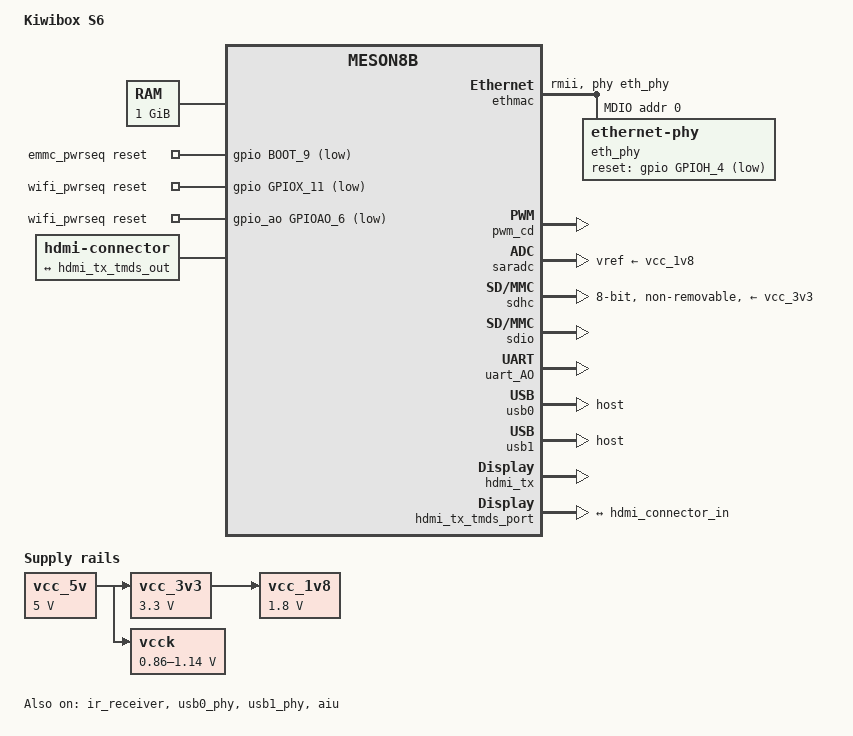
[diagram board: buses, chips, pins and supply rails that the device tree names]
// SPDX-License-Identifier: (GPL-2.0+ OR MIT)
/*
 * Kiwibox S6 - Amlogic S805 (Meson8b) TV box
 *
 * Reconstructed from the vendor Android 4.4.2 firmware (m201-ota-20150701,
 * build path ".../release_m8_kitkat44_0823patch_20150313-s805/1g/ap6181/...",
 * DTBs m8b_m201_1G / m8b_m201C_512M) plus the upstream meson8b-mxq and
 * meson8b-odroidc1 reference trees.
 *
 * Build against a v6.12.y tree carrying:
 *   - Armbian's patch/kernel/archive/meson-6.12 series (VPU/HDMI/CEC/hhi)
 *   - kiwibox-0002: SDIO port 0 pinctrl groups for meson8b
 *   - kiwibox-0003: meson-mx-sdio multi-slot support (experimental)
 *
 * The SD card (port 1) and the WiFi chip (port 0) are both driven by the
 * meson-mx-sdio controller.  Stock kernels only register the first
 * "mmc-slot" child, so slot@1 (SD) is listed first: a stock kernel boots
 * from the card and ignores slot@0, while kiwibox-0003 registers both.
 *
 * Confidence per subsystem:
 *   HIGH    CPU, RAM (1 GiB), SD card, IR receiver, HDMI-only display,
 *           USB host ports
 *   MEDIUM  eMMC (8-bit via SDHC controller; reset line on BOOT_9 assumed),
 *           WiFi (card and power pins known, 32 kHz and IRQ untested)
 *   LOW     ethernet PHY wiring, VCCK PWM regulator mapping
 */

/dts-v1/;

#include <dt-bindings/gpio/gpio.h>
#include <dt-bindings/interrupt-controller/irq.h>

#include "meson8b.dtsi"

/ {
	model = "Kiwibox S6";
	compatible = "kiwibox,s6", "amlogic,meson8b";

	aliases {
		serial0 = &uart_AO;
		mmc0 = &sd_card_slot;
		mmc1 = &sdhc;
	};

	chosen {
		stdout-path = "serial0:115200n8";
	};

	/*
	 * 1 GiB. The vendor DTB uses phys_offset 0x200000 and
	 * linux,total-memory = <0x3fe00000>; upstream maps DRAM at
	 * 0x40000000 and reserves the low 2 MiB via meson8b.dtsi.
	 */
	memory@40000000 {
		device_type = "memory";
		reg = <0x40000000 0x40000000>;
	};

	/*
	 * Vendor "sdhc" node drives eMMC on port 5, 8-bit, no reset GPIO
	 * described. BOOT_9 is the SoC's dedicated eMMC RSTn pad, so model
	 * it as a pwrseq like the Odroid-C1 does. If eMMC fails to probe,
	 * drop this pwrseq and the mmc-pwrseq reference below.
	 */
	emmc_pwrseq: emmc-pwrseq {
		compatible = "mmc-pwrseq-emmc";
		reset-gpios = <&gpio BOOT_9 GPIO_ACTIVE_LOW>;
	};

	/*
	 * AP6181 power enable. Both pins are "power_on_pin" in the vendor
	 * DTS; declaring them active-low makes mmc-pwrseq-simple drive them
	 * physically high for power-on (and low on power-off).
	 */
	wifi_pwrseq: wifi-pwrseq {
		compatible = "mmc-pwrseq-simple";
		reset-gpios = <&gpio GPIOX_11 GPIO_ACTIVE_LOW>,
			      <&gpio_ao GPIOAO_6 GPIO_ACTIVE_LOW>;
		post-power-on-delay-ms = <200>;
	};

	hdmi-connector {
		compatible = "hdmi-connector";
		type = "a";

		port {
			hdmi_connector_in: endpoint {
				remote-endpoint = <&hdmi_tx_tmds_out>;
			};
		};
	};

	/* HDMI audio, wired up exactly like Armbian's meson8b-mxq patch */
	sound {
		compatible = "amlogic,gx-sound-card";
		model = "Kiwibox S6";

		assigned-clocks = <&clkc CLKID_MPLL0>,
				  <&clkc CLKID_MPLL1>;
		assigned-clock-rates = <294912000>,
				       <270950400>;

		dai-link-0 {
			sound-dai = <&aiu AIU_CPU CPU_I2S_FIFO>;
		};

		dai-link-1 {
			sound-dai = <&aiu AIU_CPU CPU_I2S_ENCODER>;
			dai-format = "i2s";
			mclk-fs = <256>;

			codec-0 {
				sound-dai = <&aiu AIU_HDMI CTRL_I2S>;
			};
		};

		dai-link-2 {
			sound-dai = <&aiu AIU_HDMI CTRL_OUT>;

			codec-0 {
				sound-dai = <&hdmi_tx 0>;
			};
		};
	};

	/*
	 * No keys node here on purpose: this box has no power button. The
	 * vendor firmware declares a gpio_keypad on GPIOAO_3, but nothing is
	 * wired to it, so a gpio-keys-polled node on that pin reports a
	 * permanently pressed KEY_POWER - systemd-logind then powers the box
	 * off about 35 seconds after boot.
	 */

	vcc_5v: regulator-vcc-5v {
		compatible = "regulator-fixed";
		regulator-name = "VCC5V";
		regulator-min-microvolt = <5000000>;
		regulator-max-microvolt = <5000000>;
		regulator-boot-on;
		regulator-always-on;
	};

	vcc_3v3: regulator-vcc-3v3 {
		compatible = "regulator-fixed";
		regulator-name = "VCC3V3";
		regulator-min-microvolt = <3300000>;
		regulator-max-microvolt = <3300000>;
		vin-supply = <&vcc_5v>;
		regulator-boot-on;
		regulator-always-on;
	};

	vcc_1v8: regulator-vcc-1v8 {
		compatible = "regulator-fixed";
		regulator-name = "VCC1V8";
		regulator-min-microvolt = <1800000>;
		regulator-max-microvolt = <1800000>;
		vin-supply = <&vcc_3v3>;
	};

	/*
	 * VCCK is generated by a PWM controlled regulator on PWM_C
	 * (GPIODV_9), see the vendor "meson_vcck_dvfs_driver" node
	 * (use_pwm, PWM_C). Its cs_voltage_table says:
	 *     duty 0x1c (28/32) -> 860 mV ... duty 0 -> 1140 mV
	 * i.e. inverted: more duty = lower voltage. The mapping below is
	 * the same shape as meson8b-mxq's VCCK but has NOT been measured
	 * on this board. If the box is unstable or runs hot, scope VCCK
	 * against CPU frequency and adjust pwm-dutycycle-range
	 * (e.g. <88 0> would match the vendor's 28/32 endpoint).
	 */
	vcck: regulator-vcck {
		compatible = "pwm-regulator";
		regulator-name = "VCCK";
		regulator-min-microvolt = <860000>;
		regulator-max-microvolt = <1140000>;
		pwm-supply = <&vcc_5v>;
		pwms = <&pwm_cd 0 1148 0>;
		pwm-dutycycle-range = <100 0>;
		regulator-boot-on;
		regulator-always-on;
	};
};

&cpu0 {
	cpu-supply = <&vcck>;
};

&efuse {
	ethernet_mac_address: mac@1b4 {
		reg = <0x1b4 0x6>;
	};
};

/*
 * 100 Mbit RMII PHY on the internal meson8b MAC.
 *
 * The vendor DTB only describes "amlogic,meson-eth" and never names the
 * PHY, so the wiring below is the M201-class meson8b-mxq layout. If there
 * is no link, in this order:
 *   1. read the PHY chip markings and try another mdio address (reg = <1..7>)
 *   2. drop reset-gpios / interrupt if GPIOH_4 / GPIOH_3 are not wired
 *   3. if it is an IC+ part, make sure CONFIG_ICPLUS_PHY=y is set
 *      (Armbian's linux-meson-current.config does not enable it)
 *
 * The icplus,select-interrupt property below is only meaningful for
 * IC+ PHYs; drop it if the chip turns out to be something else.
 */
&ethmac {
	status = "okay";

	pinctrl-0 = <&eth_rmii_pins>;
	pinctrl-names = "default";

	phy-handle = <&eth_phy>;
	phy-mode = "rmii";

	nvmem-cells = <&ethernet_mac_address>;
	nvmem-cell-names = "mac-address";

	mdio {
		compatible = "snps,dwmac-mdio";
		#address-cells = <1>;
		#size-cells = <0>;

		eth_phy: ethernet-phy@0 {
			reg = <0>;

			reset-assert-us = <10000>;
			reset-deassert-us = <10000>;
			reset-gpios = <&gpio GPIOH_4 GPIO_ACTIVE_LOW>;

			icplus,select-interrupt;
			interrupt-parent = <&gpio_intc>;
			interrupts = <17 IRQ_TYPE_LEVEL_LOW>; /* GPIOH_3 */
		};
	};
};

&ir_receiver {
	status = "okay";
	pinctrl-0 = <&ir_recv_pins>;
	pinctrl-names = "default";
};

/*
 * The vendor DVFS table only drives VCCK. Whatever rails the GPU, it is
 * fixed on this board, so mali-supply is intentionally left unset.
 */

&pwm_cd {
	status = "okay";
	pinctrl-0 = <&pwm_c1_pins>, <&pwm_d_pins>;
	pinctrl-names = "default";
	clocks = <&xtal>, <&xtal>;
	clock-names = "clkin0", "clkin1";
};

&saradc {
	status = "okay";
	vref-supply = <&vcc_1v8>;
};

/* eMMC: vendor sdhc port 5, 8-bit. No vqmmc: the IO rail is unverified. */
&sdhc {
	status = "okay";

	pinctrl-0 = <&sdxc_c_pins>;
	pinctrl-names = "default";

	bus-width = <8>;
	max-frequency = <100000000>;
	non-removable;
	no-sdio;
	cap-mmc-highspeed;

	mmc-pwrseq = <&emmc_pwrseq>;
	vmmc-supply = <&vcc_3v3>;
};

&sdio {
	status = "okay";

	/*
	 * All used ports are muxed at once: the CARD bank (SD card) and the
	 * GPIOX bank (SDIO port 0 + the 32 kHz output for the WiFi module).
	 */
	pinctrl-0 = <&sd_b_pins>, <&sd_a_pins>, <&xtal_32k_out_pins>;
	pinctrl-names = "default";

	/*
	 * Two of the controller's three ports are used:
	 *   slot@1  SD card, CARD bank, card detect on CARD_6
	 *   slot@0  AP6181 WiFi, GPIOX bank
	 *
	 * The driver registers only the first "mmc-slot" without
	 * kiwibox-0003, so slot@1 must stay first: a stock kernel then
	 * still boots from the SD card (WiFi is simply absent).
	 */
	sd_card_slot: slot@1 {
		compatible = "mmc-slot";
		reg = <1>;
		status = "okay";

		bus-width = <4>;
		no-sdio;
		cap-mmc-highspeed;
		cap-sd-highspeed;
		disable-wp;

		cd-gpios = <&gpio CARD_6 GPIO_ACTIVE_LOW>;

		vmmc-supply = <&vcc_3v3>;
	};

	/*
	 * WiFi is an Ampak AP6181 (Broadcom BCM43362) on SDIO port 0:
	 *   data/clk/cmd  GPIOX_0..3, GPIOX_8, GPIOX_9 (sd_a groups)
	 *   power enable  GPIOX_11 + GPIOAO_6
	 *   32 kHz clock  GPIOX_10 (xtal_32k_out)
	 *   OOB interrupt GPIOX_21 (vendor "GPIO_IRQ_HIGH")
	 *   BT reset      GPIOX_20 (not used yet)
	 *
	 * The board NVRAM from the vendor image is shipped in firmware/ and
	 * must be installed as /lib/firmware/brcm/brcmfmac43362-sdio.txt.
	 */
	wifi_slot: slot@0 {
		compatible = "mmc-slot";
		reg = <0>;
		status = "okay";

		#address-cells = <1>;
		#size-cells = <0>;

		bus-width = <4>;
		max-frequency = <30000000>;
		non-removable;
		no-sd;
		no-mmc;
		keep-power-in-suspend;
		cap-power-off-card;

		mmc-pwrseq = <&wifi_pwrseq>;

		/*
		 * brcmfmac binds to the SDIO function node (function 1) and
		 * picks up the out-of-band interrupt from here.
		 */
		wifi@1 {
			compatible = "brcm,bcm4329-fmac";
			reg = <1>;

			interrupt-parent = <&gpio_intc>;
			interrupts = <GPIOX_21 IRQ_TYPE_LEVEL_HIGH>;
		};
	};
};

&uart_AO {
	status = "okay";
	pinctrl-0 = <&uart_ao_a_pins>;
	pinctrl-names = "default";
};

/* Vendor usb_con: usb_a (port 0) + usb_b (port 1), both host */
&usb0 {
	status = "okay";
	dr_mode = "host";
};

&usb0_phy {
	status = "okay";
};

&usb1 {
	status = "okay";
	dr_mode = "host";
};

&usb1_phy {
	status = "okay";
};

/* Display: HDMI only (vendor build.prop has cvbsmode=false) */
&aiu {
	status = "okay";
};

&hdmi_tx {
	status = "okay";
	pinctrl-0 = <&hdmi_hpd_pins>, <&hdmi_i2c_pins>;
	pinctrl-names = "default";
};

&hdmi_tx_tmds_port {
	hdmi_tx_tmds_out: endpoint {
		remote-endpoint = <&hdmi_connector_in>;
	};
};
